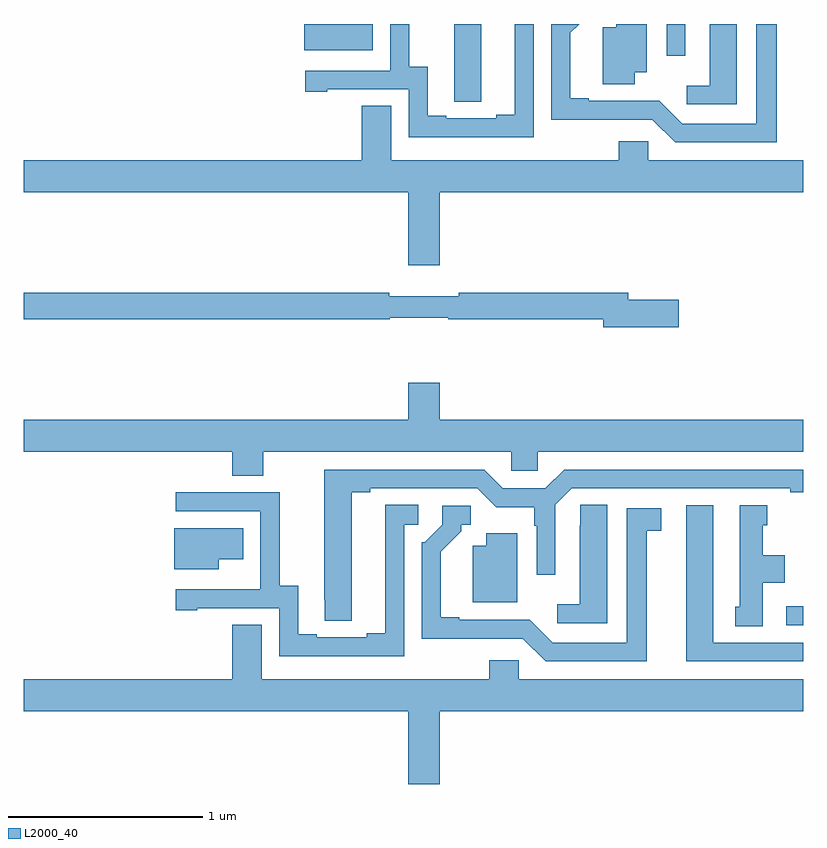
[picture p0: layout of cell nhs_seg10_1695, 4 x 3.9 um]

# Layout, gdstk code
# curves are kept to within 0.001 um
import gdstk
lib = gdstk.Library(unit=1e-6, precision=1e-09)
def R(c, l, rs):  # rectangles x0, y0, x1, y1
    for r in rs: c.add(gdstk.rectangle(r[:2], r[2:], *l))
def P(c, l, *ps):  # polygons
    for p in ps: c.add(gdstk.Polygon(p, *l))
L2000_40 = (2000, 40)

nhs_seg10_1695 = lib.new_cell('nhs_seg10_1695')
R(nhs_seg10_1695, L2000_40, [(202.914,1311.414,203,1311.51), (202.299,1314.336,202.395,1314.5), (200.438,1314.365,200.791,1314.5)])
P(nhs_seg10_1695, L2000_40, [(202.66,1314.5),(202.52,1314.5),(202.52,1314.184),(202.404,1314.184),(202.404,1314.087),(202.66,1314.087)],
  [(201.618,1314.5),(201.521,1314.5),(201.521,1314.035),(201.425,1314.035),(201.425,1314.015),(201.169,1314.015),(201.169,1314.03),(201.073,1314.03),(201.073,1314.281),(200.979,1314.281),(200.979,1314.5),(200.88,1314.5),(200.88,1314.261),(200.445,1314.261),(200.445,1314.153),(200.557,1314.153),(200.557,1314.165),(200.976,1314.165),(200.976,1313.919),(201.618,1313.919)],
  [(202.864,1314.5),(202.76,1314.5),(202.76,1313.988),(202.38,1313.988),(202.262,1314.106),(201.901,1314.105),(201.901,1314.118),(201.805,1314.118),(201.805,1314.454),(201.851,1314.5),(201.708,1314.5),(201.708,1314.008),(202.227,1314.009),(202.344,1313.892),(202.864,1313.892)],
  [(202.135,1314.251),(202.198,1314.251),(202.198,1314.5),(202.04,1314.5),(202.04,1314.484),(201.971,1314.484),(201.971,1314.19),(202.135,1314.19)],
  [(201.349,1314.5),(201.209,1314.5),(201.209,1314.208),(201.21,1314.208),(201.21,1314.1),(201.349,1314.1)],
  [(201.136,1313.636),(203,1313.636),(203,1313.8),(202.206,1313.8),(202.206,1313.898),(202.055,1313.898),(202.055,1313.8),(200.887,1313.8),(200.887,1314.08),(200.735,1314.08),(200.735,1313.8),(199,1313.8),(199,1313.636),(200.972,1313.636),(200.972,1313.262),(201.136,1313.262)],
  [(202.363,1313.084),(202.102,1313.084),(202.102,1313.12),(201.232,1313.12),(201.232,1313.101),(200.876,1313.101),(200.876,1313.12),(199,1313.12),(199,1312.984),(200.878,1312.984),(200.878,1312.992),(201.178,1312.992),(201.178,1312.984),(201.974,1312.984),(201.974,1312.942),(202.363,1312.942)],
  [(200.229,1312.304),(201.501,1312.304),(201.501,1312.206),(201.639,1312.206),(201.639,1312.304),(203,1312.304),(203,1312.468),(201.136,1312.468),(201.136,1312.657),(200.972,1312.657),(200.972,1312.468),(199,1312.468),(199,1312.304),(200.069,1312.304),(200.069,1312.18),(200.229,1312.18)],
  [(200.683,1312.096),(200.779,1312.096),(200.779,1312.116),(201.327,1312.116),(201.424,1312.019),(201.621,1312.019),(201.621,1311.923),(201.633,1311.923),(201.633,1311.672),(201.729,1311.672),(201.729,1312.032),(201.813,1312.116),(202.934,1312.116),(202.934,1312.096),(203,1312.096),(203,1312.212),(201.773,1312.212),(201.677,1312.116),(201.459,1312.116),(201.363,1312.212),(200.543,1312.212),(200.544,1311.436),(200.683,1311.436)],
  [(200.952,1311.93),(201.025,1311.93),(201.025,1312.031),(200.855,1312.031),(200.855,1311.371),(200.759,1311.371),(200.759,1311.351),(200.503,1311.351),(200.503,1311.366),(200.407,1311.366),(200.407,1311.617),(200.313,1311.617),(200.313,1312.095),(199.779,1312.095),(199.779,1311.999),(200.214,1311.999),(200.214,1311.598),(200.213,1311.598),(200.213,1311.597),(199.779,1311.597),(199.779,1311.489),(199.891,1311.489),(199.891,1311.501),(200.31,1311.501),(200.31,1311.255),(200.952,1311.255)],
  [(201.994,1312.031),(201.855,1312.031),(201.855,1311.923),(201.854,1311.923),(201.854,1311.52),(201.738,1311.52),(201.738,1311.423),(201.994,1311.423)],
  [(203,1311.324),(202.54,1311.324),(202.54,1312.03),(202.4,1312.03),(202.4,1311.228),(203,1311.228)],
  [(202.792,1311.632),(202.906,1311.632),(202.906,1311.772),(202.792,1311.772),(202.792,1311.927),(202.816,1311.927),(202.816,1312.03),(202.676,1312.03),(202.676,1311.507),(202.652,1311.507),(202.652,1311.409),(202.792,1311.409)],
  [(202.198,1311.898),(202.273,1311.898),(202.273,1312.014),(202.094,1312.014),(202.094,1311.324),(201.714,1311.324),(201.597,1311.441),(201.235,1311.441),(201.235,1311.454),(201.139,1311.454),(201.139,1311.79),(201.244,1311.895),(201.244,1311.93),(201.295,1311.93),(201.295,1312.026),(201.147,1312.026),(201.147,1311.93),(201.057,1311.84),(201.042,1311.84),(201.042,1311.344),(201.561,1311.345),(201.678,1311.228),(202.198,1311.228)],
  [(199.999,1311.752),(200.125,1311.752),(200.125,1311.91),(199.772,1311.91),(199.772,1311.701),(199.999,1311.701)],
  [(201.532,1311.886),(201.374,1311.886),(201.374,1311.82),(201.305,1311.82),(201.305,1311.53),(201.532,1311.53)],
  [(201.136,1310.972),(203,1310.972),(203,1311.136),(201.54,1311.136),(201.54,1311.234),(201.389,1311.234),(201.389,1311.136),(200.221,1311.136),(200.221,1311.416),(200.069,1311.416),(200.069,1311.136),(199,1311.136),(199,1310.972),(200.972,1310.972),(200.972,1310.598),(201.136,1310.598)])

lib.write_gds('nhs_seg10_1695.gds')
